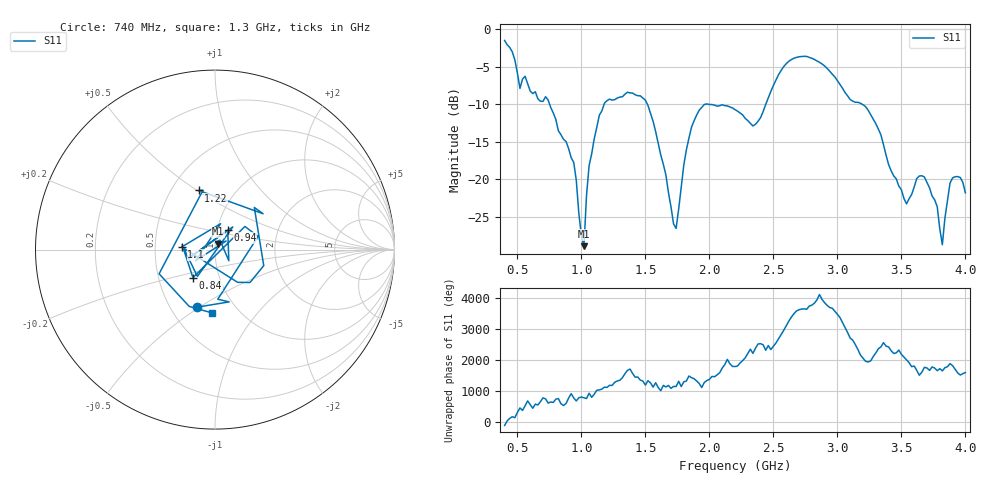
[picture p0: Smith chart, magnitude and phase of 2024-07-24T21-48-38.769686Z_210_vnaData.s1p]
!Created with skrf (http://scikit-rf.org).
# Hz S RI R 50.0
!freq ReS11 ImS11
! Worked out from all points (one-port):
!   181 points, 400 MHz to 4 GHz, reference 50 ohm
!   lowest |S11| = -28.9 dB at 1.02 GHz (marker M1), VSWR 1.07, Z = 51.5 + j3.33 ohm
!   |S11| at or under -10 dB: 1.516 GHz to 1.969 GHz (453 MHz wide, 26 % of centre); 1.992 GHz to 2.44 GHz (448.4 MHz wide, 20.2 % of centre); 3.194 GHz to end of sweep (the widest 3 of 4)
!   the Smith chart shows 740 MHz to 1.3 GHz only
!   S11 on the Smith chart (normalised r, x): 740 MHz: 0.67, -0.49; 840 MHz: 0.75, -0.24; 940 MHz: 1.12, +0.25; 1.1 GHz: 0.69, +0.02; 1.22 GHz: 0.68, +0.51; 1.3 GHz: 0.76, -0.61
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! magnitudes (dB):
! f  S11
! 400 MHz  -1.5
! 520 MHz  -7.9
! 740 MHz  -9.4
! 840 MHz  -14.0
! 860 MHz  -14.6
! 940 MHz  -17.7
! 1.02 GHz  -28.9
! 1.06 GHz  -18.2
! 1.1 GHz  -14.6
! 1.22 GHz  -9.3
! 1.3 GHz  -9.0
! 1.5 GHz  -9.5
! 1.66 GHz  -19.4
! 1.72 GHz  -25.9
! 1.76 GHz  -23.9
! 1.82 GHz  -16.1
! 1.92 GHz  -10.8
! 2.2 GHz  -10.7
! 2.36 GHz  -12.7
! 2.66 GHz  -3.9
! 3.1 GHz  -9.4
! 3.24 GHz  -10.8
! 3.56 GHz  -22.6
! 3.68 GHz  -19.7
! 3.78 GHz  -23.6
! 3.82 GHz  -28.7
! 3.88 GHz  -20.5
! 4 GHz  -21.8
